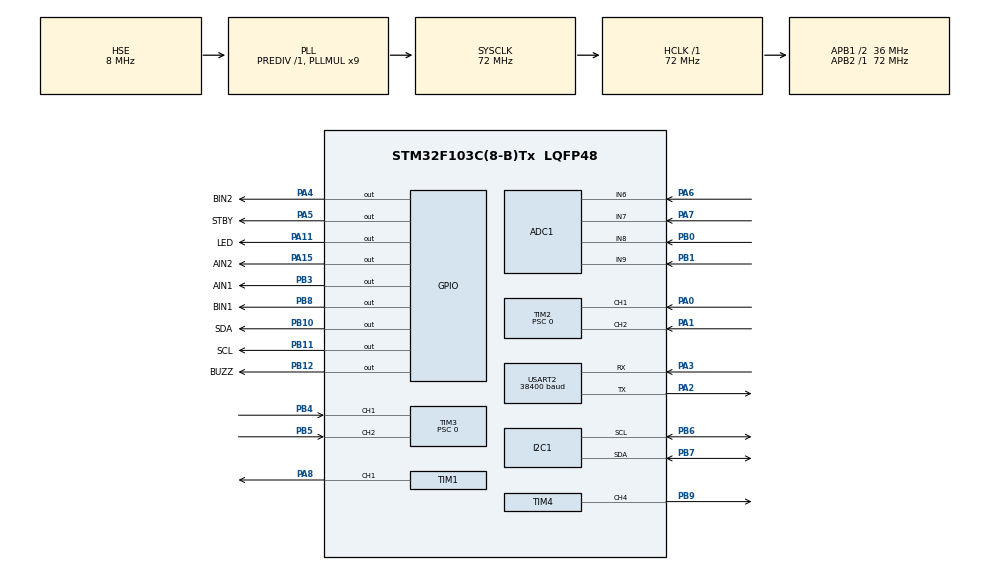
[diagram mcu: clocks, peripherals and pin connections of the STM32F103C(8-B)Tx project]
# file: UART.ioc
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ADC1.Channel-3\#ChannelRegularConversion=ADC_CHANNEL_6
ADC1.Channel-4\#ChannelRegularConversion=ADC_CHANNEL_7
ADC1.Channel-5\#ChannelRegularConversion=ADC_CHANNEL_8
ADC1.Channel-6\#ChannelRegularConversion=ADC_CHANNEL_9
ADC1.ContinuousConvMode=ENABLE
ADC1.NbrOfConversion=4
ADC1.NbrOfConversionFlag=1
ADC1.Rank-3\#ChannelRegularConversion=1
ADC1.Rank-4\#ChannelRegularConversion=2
ADC1.Rank-5\#ChannelRegularConversion=3
ADC1.Rank-6\#ChannelRegularConversion=4
ADC1.SamplingTime-3\#ChannelRegularConversion=ADC_SAMPLETIME_28CYCLES_5
ADC1.SamplingTime-4\#ChannelRegularConversion=ADC_SAMPLETIME_28CYCLES_5
ADC1.SamplingTime-5\#ChannelRegularConversion=ADC_SAMPLETIME_28CYCLES_5
ADC1.SamplingTime-6\#ChannelRegularConversion=ADC_SAMPLETIME_28CYCLES_5
ADC1.master=1
Dma.ADC1.2.Direction=DMA_PERIPH_TO_MEMORY
Dma.ADC1.2.Instance=DMA1_Channel1
Dma.ADC1.2.MemDataAlignment=DMA_MDATAALIGN_HALFWORD
Dma.ADC1.2.MemInc=DMA_MINC_ENABLE
Dma.ADC1.2.Mode=DMA_CIRCULAR
Dma.ADC1.2.PeriphDataAlignment=DMA_PDATAALIGN_HALFWORD
Dma.ADC1.2.PeriphInc=DMA_PINC_DISABLE
Dma.ADC1.2.Priority=DMA_PRIORITY_MEDIUM
Dma.Request0=USART2_RX
Dma.Request1=USART2_TX
Dma.Request2=ADC1
Dma.USART2_RX.0.Direction=DMA_PERIPH_TO_MEMORY
Dma.USART2_RX.0.Instance=DMA1_Channel6
Dma.USART2_RX.0.MemDataAlignment=DMA_MDATAALIGN_BYTE
Dma.USART2_RX.0.MemInc=DMA_MINC_ENABLE
Dma.USART2_RX.0.Mode=DMA_NORMAL
Dma.USART2_RX.0.PeriphDataAlignment=DMA_PDATAALIGN_BYTE
Dma.USART2_RX.0.PeriphInc=DMA_PINC_DISABLE
Dma.USART2_RX.0.Priority=DMA_PRIORITY_HIGH
Dma.USART2_TX.1.Direction=DMA_MEMORY_TO_PERIPH
Dma.USART2_TX.1.Instance=DMA1_Channel7
Dma.USART2_TX.1.MemDataAlignment=DMA_MDATAALIGN_BYTE
Dma.USART2_TX.1.MemInc=DMA_MINC_ENABLE
Dma.USART2_TX.1.Mode=DMA_NORMAL
Dma.USART2_TX.1.PeriphDataAlignment=DMA_PDATAALIGN_BYTE
Dma.USART2_TX.1.PeriphInc=DMA_PINC_DISABLE
Dma.USART2_TX.1.Priority=DMA_PRIORITY_HIGH
Mcu.Family=STM32F1
Mcu.Name=STM32F103C(8-B)Tx
Mcu.Package=LQFP48
NVIC.DMA1_Channel1_IRQn=true\:0\:0\:false\:false\:true\:false\:true\:true
NVIC.DMA1_Channel6_IRQn=true\:0\:0\:false\:false\:true\:false\:true\:true
NVIC.DMA1_Channel7_IRQn=true\:0\:0\:false\:false\:true\:false\:true\:true
NVIC.PriorityGroup=NVIC_PRIORITYGROUP_4
NVIC.TIM1_UP_IRQn=true\:0\:0\:false\:false\:true\:true\:true\:true
NVIC.TIM4_IRQn=true\:0\:0\:false\:false\:true\:true\:true\:true
NVIC.USART2_IRQn=true\:0\:0\:false\:false\:true\:true\:true\:true
PA0-WKUP.Signal=S_TIM2_CH1_ETR
PA1.Signal=S_TIM2_CH2
PA11.GPIO_Label=LED
PA11.PinState=GPIO_PIN_SET
PA11.Signal=GPIO_Output
PA13.Mode=Serial_Wire
PA13.Signal=SYS_JTMS-SWDIO
PA14.Mode=Serial_Wire
PA14.Signal=SYS_JTCK-SWCLK
PA15.GPIO_Label=AIN2
PA15.Signal=GPIO_Output
PA2.Mode=Asynchronous
PA2.Signal=USART2_TX
PA3.Mode=Asynchronous
PA3.Signal=USART2_RX
PA4.GPIO_Label=BIN2
PA4.Signal=GPIO_Output
PA5.GPIO_Label=STBY
PA5.Signal=GPIO_Output
PA6.Signal=ADCx_IN6
PA7.Signal=ADCx_IN7
PA8.Signal=S_TIM1_CH1
PB0.Signal=ADCx_IN8
PB1.Signal=ADCx_IN9
PB10.GPIO_Label=SDA
PB10.Signal=GPIO_Output
PB11.GPIO_Label=SCL
PB11.Signal=GPIO_Output
PB12.GPIO_Label=BUZZ
PB12.PinState=GPIO_PIN_SET
PB12.Signal=GPIO_Output
PB3.GPIO_Label=AIN1
PB3.Signal=GPIO_Output
PB4.Signal=S_TIM3_CH1
PB5.Signal=S_TIM3_CH2
PB6.Mode=I2C
PB6.Signal=I2C1_SCL
PB7.Mode=I2C
PB7.Signal=I2C1_SDA
PB8.GPIO_Label=BIN1
PB8.Signal=GPIO_Output
PB9.Signal=S_TIM4_CH4
PD0-OSC_IN.Mode=HSE-External-Oscillator
PD0-OSC_IN.Signal=RCC_OSC_IN
PD1-OSC_OUT.Mode=HSE-External-Oscillator
PD1-OSC_OUT.Signal=RCC_OSC_OUT
ProjectManager.HeapSize=0x200
ProjectManager.StackSize=0x400
ProjectManager.TargetToolchain=CMake
RCC.ADCPresc=RCC_ADCPCLK2_DIV6
RCC.AHBFreq_Value=72000000
RCC.APB1CLKDivider=RCC_HCLK_DIV2
RCC.APB1Freq_Value=36000000
RCC.APB1TimFreq_Value=72000000
RCC.APB2Freq_Value=72000000
RCC.APB2TimFreq_Value=72000000
RCC.HCLKFreq_Value=72000000
RCC.PLLMUL=RCC_PLL_MUL9
RCC.PLLSourceVirtual=RCC_PLLSOURCE_HSE
RCC.SYSCLKFreq_VALUE=72000000
RCC.SYSCLKSource=RCC_SYSCLKSOURCE_PLLCLK
RCC.USBFreq_Value=72000000
SH.ADCx_IN6.0=ADC1_IN6,IN6
SH.ADCx_IN7.0=ADC1_IN7,IN7
SH.ADCx_IN8.0=ADC1_IN8,IN8
SH.ADCx_IN9.0=ADC1_IN9,IN9
SH.S_TIM1_CH1.0=TIM1_CH1,PWM Generation1 CH1
SH.S_TIM2_CH1_ETR.0=TIM2_CH1,Encoder_Interface
SH.S_TIM2_CH2.0=TIM2_CH2,Encoder_Interface
SH.S_TIM3_CH1.0=TIM3_CH1,Encoder_Interface
SH.S_TIM3_CH2.0=TIM3_CH2,Encoder_Interface
SH.S_TIM4_CH4.0=TIM4_CH4,PWM Generation4 CH4
TIM1.Channel-PWM\ Generation1\ CH1=TIM_CHANNEL_1
TIM1.Period=1000-1
TIM1.Prescaler=72-1
TIM2.EncoderMode=TIM_ENCODERMODE_TI12
TIM2.Prescaler=0
TIM3.EncoderMode=TIM_ENCODERMODE_TI12
TIM3.Prescaler=0
TIM4.Channel-PWM\ Generation4\ CH4=TIM_CHANNEL_4
TIM4.Period=1000-1
TIM4.Prescaler=72- 1
USART2.BaudRate=38400
USART2.VirtualMode=VM_ASYNC
VP_TIM1_VS_ClockSourceINT.Mode=Internal
VP_TIM4_VS_ClockSourceINT.Mode=Internal
board=custom

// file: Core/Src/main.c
/* USER CODE BEGIN Header */
/**
 ******************************************************************************
 * @file           : main.c
 * @brief          : Main program body
 ******************************************************************************
 * @attention
 *
 * Copyright (c) 2025 STMicroelectronics.
 * All rights reserved.
 *
 * This software is licensed under terms that can be found in the LICENSE file
 * in the root directory of this software component.
 * If no LICENSE file comes with this software, it is provided AS-IS.
 *
 ******************************************************************************
 */
/* USER CODE END Header */
#include "main.h"

/* USER CODE BEGIN Includes */
#include "COM.h"
#include "MPU6500.h"
#include "Motor.h"
// #include "OLED.h"
#include "PID.h"
#include "math.h"
#include "stm32f1xx_hal_gpio.h"
#include "stm32f1xx_hal_tim.h"
#include "stm32f1xx_hal_uart.h"
#include "trace_sensor.h"
#include <stdint.h>
#include <stdio.h>
#include <string.h>
#include <sys/_intsup.h>

/* USER CODE END Includes */

/* USER CODE BEGIN PD */
#define UART_RX_BUF_LEN 64
// #define LOOP_TEST
// #define READ_TEMPLE
/* USER CODE END PD */

ADC_HandleTypeDef hadc1;
DMA_HandleTypeDef hdma_adc1;

I2C_HandleTypeDef hi2c1;

TIM_HandleTypeDef htim1;
TIM_HandleTypeDef htim2;
TIM_HandleTypeDef htim3;
TIM_HandleTypeDef htim4;

UART_HandleTypeDef huart2;
DMA_HandleTypeDef hdma_usart2_rx;
DMA_HandleTypeDef hdma_usart2_tx;

/* USER CODE BEGIN PV */
uint8_t RX_Buf_A[UART_RX_BUF_LEN] = {0};
uint8_t RX_Buf_B[UART_RX_BUF_LEN] = {0};
uint8_t *RX_Buf_Active = RX_Buf_A; // DMA正在写入的
uint8_t *RX_Buf_Ready = NULL;      // 准备好供主循环处理的
volatile uint8_t dataFlag = 0;

volatile int16_t M_speed_L = 0;
volatile int16_t M_speed_R = 0;
volatile uint8_t stop_flag = 1;

char float_buf1[20];
char float_buf2[20];
char float_buf3[20];

volatile uint8_t print_flag = 0;

PID_t pid_L;
PID_t pid_R;
volatile float target_L = 0;
volatile float target_R = 0;

PID_t pid_yaw;
volatile float target_Y = 0;
int16_t yaw_P = 10; // yaw调节比例系数

volatile int16_t target_d = 0;
uint8_t distance_mode = 0;
volatile int16_t measure_d = 0;

PID_t pid_trace;
uint8_t trace_mode = 0;
float last_tracking_error = 0.0;
volatile CarState_t car_state = STATE_INIT;
volatile uint32_t gap_timer = 0;
volatile uint8_t gap_direction = 0; // 0=未确定, 1=左转寻找, 2=右转寻找
volatile float last_yaw = 0.0f;     // 保存上次的角度值

volatile uint8_t TIM4_RCC = 0;
volatile uint8_t TIM1_RCC = 0;

MPU6500_Data mpu_data;
uint8_t MPU6500_flag = 0;
uint8_t joystick_mode = 0; // 摇杆模式
uint8_t turn_l_flag = 0;
uint8_t turn_r_flag = 0;

extern volatile uint16_t adc_dma_buffer[TRACE_CHANNELS];
/* USER CODE END PV */

void SystemClock_Config(void);
static void MX_GPIO_Init(void);
static void MX_DMA_Init(void);
static void MX_USART2_UART_Init(void);
static void MX_ADC1_Init(void);
static void MX_TIM1_Init(void);
static void MX_TIM3_Init(void);
static void MX_TIM4_Init(void);
static void MX_TIM2_Init(void);
static void MX_I2C1_Init(void);
/* USER CODE BEGIN PFP */
static inline float clampf(float x, float minv, float maxv);
/* USER CODE END PFP */

/* USER CODE BEGIN 0 */
float normalize_angle(float angle) {
  while (angle > 180.0f)
    angle -= 360.0f;
  while (angle < -180.0f)
    angle += 360.0f;
  return angle;
}

void HAL_TIM_PeriodElapsedCallback(TIM_HandleTypeDef *htim) {
  if (htim->Instance == TIM1) {
    TIM1_RCC++;
    if (TIM1_RCC == 10) {
      TIM1_RCC = 0;
      if (MPU6500_flag)
        MPU6500_Get_All_Data(&mpu_data);
      TraceSensor_Update();
    }
  }
  if (htim->Instance == TIM4) {
    TIM4_RCC++;
    if (TIM4_RCC == 10) {
      TIM4_RCC = 0;
      M_speed_L = GetSpeed(&htim3); // 脉冲/10ms
      M_speed_R = GetSpeed(&htim2); // 脉冲/10ms
      float yaw_now = mpu_data.yaw;

      if (stop_flag) {
        // 清状态，防止再启动猛冲
        pid_L.I = 0;
        pid_L.Err = 0;
        pid_L.Err1 = 0;
        pid_L.Out = 0;
        pid_R.I = 0;
        pid_R.Err = 0;
        pid_R.Err1 = 0;
        pid_R.Out = 0;
        pid_yaw.I = 0;
        pid_yaw.Err = 0;
        pid_yaw.Err1 = 0;
        pid_yaw.Out = 0;

        SetSpeed(&htim4, 0);
        SetSpeed(&htim1, 0);
      } else {

        float tL, tR;

        if (trace_mode) {
          // 读取四个传感器的状态
          uint8_t left_out = TraceSensor_IsBlack(0);  // 最左传感器
          uint8_t left_mid = TraceSensor_IsBlack(1);  // 左中传感器
          uint8_t right_mid = TraceSensor_IsBlack(2); // 右中传感器
          uint8_t right_out = TraceSensor_IsBlack(3); // 最右传感器

          uint8_t any_black = left_out || left_mid || right_mid || right_out;

          // 基础速度设置（所有状态共用）
          float base_speed = 8.0f;  // 基础速度
          float turn_speed = 12.0f; // 转向时外轮速度
          float inner_speed = 5.0f; // 转向时内轮速度

          switch (car_state) {
          case STATE_INIT:
            // 初始状态，等待检测到黑线
            if (any_black) {
              car_state = STATE_TRACKING;
              gap_timer = 0;
              // 初始化目标速度
              target_L = base_speed;
              target_R = base_speed;
              // 记录当前航向
              last_yaw = mpu_data.yaw;
              target_Y = last_yaw;
            } else {
              // 等待，不动或缓慢前进
              target_L = 0;
              target_R = 0;
            }
            break;

          case STATE_TRACKING:
            if (!any_black) {
              // 进入空白段
              car_state = STATE_GAP;
              gap_timer = 0;
              // 保存最后一次误差方向，用于判断转向
              gap_direction = (last_tracking_error < 0) ? 1 : 2;
              // 保持当前航向直线前进
              target_L = base_speed;
              target_R = base_speed;
            } else {
              // 正常跟踪
              float error = TraceSensor_GetWeightedError();
              last_tracking_error = error;

              // PID控制 - 调节目标航向
              pid_trace.Exp = 0.0f; // 目标误差为0
              pid_trace.Mea = error;
              float steering = PID_Update(&pid_trace);

              // 将转向转化为目标航向调整
              // 注意：steering是角度调整量，单位是度
              float yaw_adjust = steering * 5.0f; // 比例因子，需要调试

              // 更新目标航向
              target_Y = last_yaw + yaw_adjust;

              // 归一化角度
              if (target_Y > 180.0f)
                target_Y -= 360.0f;
              if (target_Y < -180.0f)
                target_Y += 360.0f;

              // 设置基础速度
              target_L = base_speed;
              target_R = base_speed;

              // 保存当前角度，用于下一次计算
              last_yaw = mpu_data.yaw;
            }
            break;

          case STATE_GAP:
            gap_timer++;

            if (any_black) {
              // 在空白段中又检测到黑线，回到跟踪状态
              car_state = STATE_TRACKING;
              // 重新记录航向
              last_yaw = mpu_data.yaw;
            } else if (gap_timer > 60) { // 60 * 10ms = 600ms（根据实际调整）
              // 空白段超时，进入过渡状态
              car_state = STATE_TRANSITION;
            } else {
              // 保持直线行驶
              target_L = base_speed;
              target_R = base_speed;
              // 保持当前航向
              target_Y = last_yaw;
            }
            break;

          case STATE_TRANSITION:
            if (left_mid && right_mid) {
              // 两个中间传感器都检测到黑线，回到跟踪状态
              car_state = STATE_TRACKING;
              last_yaw = mpu_data.yaw;
              target_L = base_speed;
              target_R = base_speed;
            } else {
              // 根据gap_direction决定转向方向
              if (gap_direction == 1) {
                // 左转寻找（顺时针转，target_Y增加）
                target_Y += 2.0f;       // 每次增加2度
                target_L = inner_speed; // 左轮慢
                target_R = turn_speed;  // 右轮快
              } else {
                // 右转寻找（逆时针转，target_Y减少）
                target_Y -= 2.0f;       // 每次减少2度
                target_L = turn_speed;  // 左轮快
                target_R = inner_speed; // 右轮慢
              }

              // 归一化角度
              if (target_Y > 180.0f)
                target_Y -= 360.0f;
              if (target_Y < -180.0f)
                target_Y += 360.0f;

              // 如果检测到一侧的传感器，提前调整
              if (left_out || left_mid) {
                // 左侧有检测，需要右转调整
                target_Y -= 1.0f; // 轻微右转
                target_L = turn_speed * 0.8f;
                target_R = inner_speed * 0.8f;
              } else if (right_out || right_mid) {
                // 右侧有检测，需要左转调整
                target_Y += 1.0f; // 轻微左转
                target_L = inner_speed * 0.8f;
                target_R = turn_speed * 0.8f;
              }
            }
            break;
          }
        }

        float diff_yaw = normalize_angle(target_Y) - normalize_angle(yaw_now);
        diff_yaw = normalize_angle(diff_yaw);

        if (fabs(diff_yaw) < 1.0f) {
          diff_yaw = 0.0f;
        }

        pid_yaw.Exp = 0;
        pid_yaw.Mea = diff_yaw;
        float yaw_correction = PID_Update(&pid_yaw);

        // 根据循迹模式调整角度环权重
        float yaw_weight = 1.0f;
        if (trace_mode) {
          // 在循迹模式下，根据状态调整角度环权重
          switch (car_state) {
          case STATE_TRACKING:
            yaw_weight = 1.0f; // 全权重
            break;
          case STATE_GAP:
            yaw_weight = 0.8f; // 略降低权重
            break;
          case STATE_TRANSITION:
            yaw_weight = 0.5f; // 大幅降低权重，让传感器主导
            break;
          default:
            yaw_weight = 1.0f;
          }
        }

        // 目标限幅：避免不可能达到的设定导致长时间饱和
        if (fabs(diff_yaw) < 5.0) {
          tL = clampf(target_L + yaw_correction * yaw_weight, -TARGET_LIMIT,
                      TARGET_LIMIT);
          tR = clampf(target_R - yaw_correction * yaw_weight, -TARGET_LIMIT,
                      TARGET_LIMIT);
        } else {
          tL = clampf(yaw_correction, -TARGET_LIMIT, TARGET_LIMIT);
          tR = clampf(-yaw_correction, -TARGET_LIMIT, TARGET_LIMIT);
        }

        pid_L.Exp = tL;
        pid_L.Mea = (float)M_speed_L;

        pid_R.Exp = tR;
        pid_R.Mea = (float)M_speed_R;

        int16_t outL = (int16_t)PID_Update(&pid_L);
        int16_t outR = (int16_t)PID_Update(&pid_R);

        if (distance_mode) {
          measure_d += (M_speed_L + M_speed_R) / 2;
          float remain = measure_d - target_d;
          if (measure_d >= target_d) {
            SetSpeed(&htim1, 0);
            SetSpeed(&htim4, 0);
            distance_mode = 0;
            target_d = 0;
            measure_d = 0;
            stop_flag = 1;
            outL = 0;
            outR = 0;
            return;
          } else if (remain / target_d <= 0.3f) {
            outL = (float)outL * 0.5;
            outR = (float)outR * 0.5;
          } else if (remain / target_d <= 0.1f) {
            outL = (float)outL * 0.2;
            outR = (float)outR * 0.2;
          }
        }

        if (outL > PWM_MAX)
          outL = PWM_MAX;
        if (outL < -PWM_MAX)
          outL = -PWM_MAX;
        if (outR > PWM_MAX)
          outR = PWM_MAX;
        if (outR < -PWM_MAX)
          outR = -PWM_MAX;

        SetSpeed(&htim1, outL); // 左轮
        SetSpeed(&htim4, outR); // 右轮
      }
      print_flag = 1;
    }
  }
}
/* USER CODE END 0 */

int main(void) {

  /* MCU Configuration--------------------------------------------------------*/

  /* Reset of all peripherals, Initializes the Flash interface and the Systick.
   */
  HAL_Init();

  /* Configure the system clock */
  SystemClock_Config();

  /* Initialize all configured peripherals */
  MX_GPIO_Init();
  MX_DMA_Init();
  MX_USART2_UART_Init();
  MX_ADC1_Init();
  MX_TIM1_Init();
  MX_TIM3_Init();
  MX_TIM4_Init();
  MX_TIM2_Init();
  MX_I2C1_Init();
  /* USER CODE BEGIN 2 */
  HAL_UARTEx_ReceiveToIdle_DMA(&huart2, RX_Buf_Active, UART_RX_BUF_LEN);
  TraceSensor_Init();
  TraceSensor_Start();
  // Init_BT(1500); // 这个只需要执行一次去初始化
  // OLED_Init();
  MPU6500_Init_With_Calibration();

  HAL_TIM_Encoder_Start(&htim2, TIM_CHANNEL_ALL);
  HAL_TIM_Encoder_Start(&htim3, TIM_CHANNEL_ALL);

  // if (MPU6050_Init() == 0) {
  //   Error_Handler();
  // }

  HAL_TIM_PWM_Start(&htim1, TIM_CHANNEL_1);
  HAL_TIM_Base_Start_IT(&htim1);
  HAL_TIM_PWM_Start(&htim4, TIM_CHANNEL_4);
  HAL_TIM_Base_Start_IT(&htim4);

  PID_Init(&pid_L, 10.0f, 10.0f, 3.0f, 999.0f, -999.0f, 400.0f);
  PID_Init(&pid_R, 10.0f, 10.0f, 3.0f, 999.0f, -999.0f, 400.0f);
  PID_Init(&pid_yaw, 1.0f, 0.0f, 0.0f, 10.0f, -10.0f, 400.0f);
  PID_Init(&pid_trace, 0.5f, 0.0f, 0.05f, 10.0f, -10.0f, 400.0f);

  target_L = 0;
  target_R = 0;

  Motor_Init();
  HAL_GPIO_WritePin(LED_GPIO_Port, LED_Pin, GPIO_PIN_RESET);
  HAL_Delay(500);
  // MPU6050_Calculate_Angle();
  /* USER CODE END 2 */

  /* Infinite loop */
  /* USER CODE BEGIN WHILE */
  // target_L = 3;
  // target_R = 3;
  // stop_flag = 0;
  MPU6500_flag = 1;
  while (1) {

    // OLED_ShowString(0, 0, "Motor Monitor", OLED_6X8);
    // OLED_Printf(16, 0, OLED_6X8, "Roll:%.2f, Pitch:%.2f, Yaw:%.2f
    // temp:%.2f\n",
    //             angle.pitch, angle.yaw, angle.temp);
    // OLED_Update();
    if (dataFlag) {
      dataFlag = 0;
      if (RX_Buf_Ready != NULL && RX_Buf_Ready[0] == '#') {
        if (!cmd_parser((char *)RX_Buf_Ready)) {
        }
      }
    }
    if (print_flag) {
      if (turn_l_flag) {
        target_Y += 0.5;
      } else if (turn_r_flag) {
        target_Y -= 0.5;
      }
      print_flag = 0;
      TraceSensor_Update();
      TraceSensor_GetLineState();
      // if (TraceSensor_IsBlack(0) || TraceSensor_IsBlack(1) ||
      //     TraceSensor_IsBlack(2) || TraceSensor_IsBlack(3)) {
      //   HAL_GPIO_WritePin(LED_GPIO_Port, LED_Pin, GPIO_PIN_RESET);
      // }
      // float x = pid_yaw.Out;
      // float y = mpu_data.yaw;

      // msgf(MSG_LOG, "%s,%d",
      //      float_to_string(TICK_TO_V((M_speed_L + M_speed_R) / 2.0),
      //      float_buf1,
      //                      2),
      //      (int)y);
      // msgf(MSG_LOG, "%d, %d", (int)(target_L + pid_yaw.Out),
      //      (int)(target_R - pid_yaw.Out));
      TraceSensor_Calibrate();
      TraceSensor_Update();
    }

    /* USER CODE END WHILE */

  }
}

void SystemClock_Config(void) {
  RCC_OscInitTypeDef RCC_OscInitStruct = {0};
  RCC_ClkInitTypeDef RCC_ClkInitStruct = {0};
  RCC_PeriphCLKInitTypeDef PeriphClkInit = {0};

  /** Initializes the RCC Oscillators according to the specified parameters
   * in the RCC_OscInitTypeDef structure.
   */
  RCC_OscInitStruct.OscillatorType = RCC_OSCILLATORTYPE_HSE;
  RCC_OscInitStruct.HSEState = RCC_HSE_ON;
  RCC_OscInitStruct.HSEPredivValue = RCC_HSE_PREDIV_DIV1;
  RCC_OscInitStruct.HSIState = RCC_HSI_ON;
  RCC_OscInitStruct.PLL.PLLState = RCC_PLL_ON;
  RCC_OscInitStruct.PLL.PLLSource = RCC_PLLSOURCE_HSE;
  RCC_OscInitStruct.PLL.PLLMUL = RCC_PLL_MUL9;
  if (HAL_RCC_OscConfig(&RCC_OscInitStruct) != HAL_OK) {
    Error_Handler();
  }

  /** Initializes the CPU, AHB and APB buses clocks
   */
  RCC_ClkInitStruct.ClockType = RCC_CLOCKTYPE_HCLK | RCC_CLOCKTYPE_SYSCLK |
                                RCC_CLOCKTYPE_PCLK1 | RCC_CLOCKTYPE_PCLK2;
  RCC_ClkInitStruct.SYSCLKSource = RCC_SYSCLKSOURCE_PLLCLK;
  RCC_ClkInitStruct.AHBCLKDivider = RCC_SYSCLK_DIV1;
  RCC_ClkInitStruct.APB1CLKDivider = RCC_HCLK_DIV2;
  RCC_ClkInitStruct.APB2CLKDivider = RCC_HCLK_DIV1;

  if (HAL_RCC_ClockConfig(&RCC_ClkInitStruct, FLASH_LATENCY_2) != HAL_OK) {
    Error_Handler();
  }
  PeriphClkInit.PeriphClockSelection = RCC_PERIPHCLK_ADC;
  PeriphClkInit.AdcClockSelection = RCC_ADCPCLK2_DIV6;
  if (HAL_RCCEx_PeriphCLKConfig(&PeriphClkInit) != HAL_OK) {
    Error_Handler();
  }
}

static void MX_ADC1_Init(void) {

  ADC_ChannelConfTypeDef sConfig = {0};

  /** Common config
   */
  hadc1.Instance = ADC1;
  hadc1.Init.ScanConvMode = ADC_SCAN_ENABLE;
  hadc1.Init.ContinuousConvMode = ENABLE;
  hadc1.Init.DiscontinuousConvMode = DISABLE;
  hadc1.Init.ExternalTrigConv = ADC_SOFTWARE_START;
  hadc1.Init.DataAlign = ADC_DATAALIGN_RIGHT;
  hadc1.Init.NbrOfConversion = 4;
  if (HAL_ADC_Init(&hadc1) != HAL_OK) {
    Error_Handler();
  }

  /** Configure Regular Channel
   */
  sConfig.Channel = ADC_CHANNEL_6;
  sConfig.Rank = ADC_REGULAR_RANK_1;
  sConfig.SamplingTime = ADC_SAMPLETIME_28CYCLES_5;
  if (HAL_ADC_ConfigChannel(&hadc1, &sConfig) != HAL_OK) {
    Error_Handler();
  }

  /** Configure Regular Channel
   */
  sConfig.Channel = ADC_CHANNEL_7;
  sConfig.Rank = ADC_REGULAR_RANK_2;
  if (HAL_ADC_ConfigChannel(&hadc1, &sConfig) != HAL_OK) {
    Error_Handler();
  }

  /** Configure Regular Channel
   */
  sConfig.Channel = ADC_CHANNEL_8;
  sConfig.Rank = ADC_REGULAR_RANK_3;
  if (HAL_ADC_ConfigChannel(&hadc1, &sConfig) != HAL_OK) {
    Error_Handler();
  }

  /** Configure Regular Channel
   */
  sConfig.Channel = ADC_CHANNEL_9;
  sConfig.Rank = ADC_REGULAR_RANK_4;
  if (HAL_ADC_ConfigChannel(&hadc1, &sConfig) != HAL_OK) {
    Error_Handler();
  }
}

static void MX_I2C1_Init(void) {

  hi2c1.Instance = I2C1;
  hi2c1.Init.ClockSpeed = 100000;
  hi2c1.Init.DutyCycle = I2C_DUTYCYCLE_2;
  hi2c1.Init.OwnAddress1 = 0;
  hi2c1.Init.AddressingMode = I2C_ADDRESSINGMODE_7BIT;
  hi2c1.Init.DualAddressMode = I2C_DUALADDRESS_DISABLE;
  hi2c1.Init.OwnAddress2 = 0;
  hi2c1.Init.GeneralCallMode = I2C_GENERALCALL_DISABLE;
  hi2c1.Init.NoStretchMode = I2C_NOSTRETCH_DISABLE;
  if (HAL_I2C_Init(&hi2c1) != HAL_OK) {
    Error_Handler();
  }
}

static void MX_TIM1_Init(void) {

  TIM_ClockConfigTypeDef sClockSourceConfig = {0};
  TIM_MasterConfigTypeDef sMasterConfig = {0};
  TIM_OC_InitTypeDef sConfigOC = {0};
  TIM_BreakDeadTimeConfigTypeDef sBreakDeadTimeConfig = {0};

  htim1.Instance = TIM1;
  htim1.Init.Prescaler = 72 - 1;
  htim1.Init.CounterMode = TIM_COUNTERMODE_UP;
  htim1.Init.Period = 1000 - 1;
  htim1.Init.ClockDivision = TIM_CLOCKDIVISION_DIV1;
  htim1.Init.RepetitionCounter = 0;
  htim1.Init.AutoReloadPreload = TIM_AUTORELOAD_PRELOAD_DISABLE;
  if (HAL_TIM_Base_Init(&htim1) != HAL_OK) {
    Error_Handler();
  }
  sClockSourceConfig.ClockSource = TIM_CLOCKSOURCE_INTERNAL;
  if (HAL_TIM_ConfigClockSource(&htim1, &sClockSourceConfig) != HAL_OK) {
    Error_Handler();
  }
  if (HAL_TIM_PWM_Init(&htim1) != HAL_OK) {
    Error_Handler();
  }
  sMasterConfig.MasterOutputTrigger = TIM_TRGO_RESET;
  sMasterConfig.MasterSlaveMode = TIM_MASTERSLAVEMODE_DISABLE;
  if (HAL_TIMEx_MasterConfigSynchronization(&htim1, &sMasterConfig) != HAL_OK) {
    Error_Handler();
  }
  sConfigOC.OCMode = TIM_OCMODE_PWM1;
  sConfigOC.Pulse = 0;
  sConfigOC.OCPolarity = TIM_OCPOLARITY_HIGH;
  sConfigOC.OCNPolarity = TIM_OCNPOLARITY_HIGH;
  sConfigOC.OCFastMode = TIM_OCFAST_DISABLE;
  sConfigOC.OCIdleState = TIM_OCIDLESTATE_RESET;
  sConfigOC.OCNIdleState = TIM_OCNIDLESTATE_RESET;
  if (HAL_TIM_PWM_ConfigChannel(&htim1, &sConfigOC, TIM_CHANNEL_1) != HAL_OK) {
    Error_Handler();
  }
  sBreakDeadTimeConfig.OffStateRunMode = TIM_OSSR_DISABLE;
  sBreakDeadTimeConfig.OffStateIDLEMode = TIM_OSSI_DISABLE;
  sBreakDeadTimeConfig.LockLevel = TIM_LOCKLEVEL_OFF;
  sBreakDeadTimeConfig.DeadTime = 0;
  sBreakDeadTimeConfig.BreakState = TIM_BREAK_DISABLE;
  sBreakDeadTimeConfig.BreakPolarity = TIM_BREAKPOLARITY_HIGH;
  sBreakDeadTimeConfig.AutomaticOutput = TIM_AUTOMATICOUTPUT_DISABLE;
  if (HAL_TIMEx_ConfigBreakDeadTime(&htim1, &sBreakDeadTimeConfig) != HAL_OK) {
    Error_Handler();
  }
  HAL_TIM_MspPostInit(&htim1);
}

static void MX_TIM2_Init(void) {

  TIM_Encoder_InitTypeDef sConfig = {0};
  TIM_MasterConfigTypeDef sMasterConfig = {0};

  htim2.Instance = TIM2;
  htim2.Init.Prescaler = 0;
  htim2.Init.CounterMode = TIM_COUNTERMODE_UP;
  htim2.Init.Period = 65535;
  htim2.Init.ClockDivision = TIM_CLOCKDIVISION_DIV1;
  htim2.Init.AutoReloadPreload = TIM_AUTORELOAD_PRELOAD_DISABLE;
  sConfig.EncoderMode = TIM_ENCODERMODE_TI12;
  sConfig.IC1Polarity = TIM_ICPOLARITY_RISING;
  sConfig.IC1Selection = TIM_ICSELECTION_DIRECTTI;
  sConfig.IC1Prescaler = TIM_ICPSC_DIV1;
  sConfig.IC1Filter = 0;
  sConfig.IC2Polarity = TIM_ICPOLARITY_RISING;
  sConfig.IC2Selection = TIM_ICSELECTION_DIRECTTI;
  sConfig.IC2Prescaler = TIM_ICPSC_DIV1;
  sConfig.IC2Filter = 0;
  if (HAL_TIM_Encoder_Init(&htim2, &sConfig) != HAL_OK) {
    Error_Handler();
  }
  sMasterConfig.MasterOutputTrigger = TIM_TRGO_RESET;
  sMasterConfig.MasterSlaveMode = TIM_MASTERSLAVEMODE_DISABLE;
  if (HAL_TIMEx_MasterConfigSynchronization(&htim2, &sMasterConfig) != HAL_OK) {
    Error_Handler();
  }
}

static void MX_TIM3_Init(void) {

  TIM_Encoder_InitTypeDef sConfig = {0};
  TIM_MasterConfigTypeDef sMasterConfig = {0};

  htim3.Instance = TIM3;
  htim3.Init.Prescaler = 0;
  htim3.Init.CounterMode = TIM_COUNTERMODE_UP;
  htim3.Init.Period = 65535;
  htim3.Init.ClockDivision = TIM_CLOCKDIVISION_DIV1;
  htim3.Init.AutoReloadPreload = TIM_AUTORELOAD_PRELOAD_DISABLE;
  sConfig.EncoderMode = TIM_ENCODERMODE_TI12;
  sConfig.IC1Polarity = TIM_ICPOLARITY_RISING;
  sConfig.IC1Selection = TIM_ICSELECTION_DIRECTTI;
  sConfig.IC1Prescaler = TIM_ICPSC_DIV1;
  sConfig.IC1Filter = 0;
  sConfig.IC2Polarity = TIM_ICPOLARITY_RISING;
  sConfig.IC2Selection = TIM_ICSELECTION_DIRECTTI;
  sConfig.IC2Prescaler = TIM_ICPSC_DIV1;
  sConfig.IC2Filter = 0;
  if (HAL_TIM_Encoder_Init(&htim3, &sConfig) != HAL_OK) {
    Error_Handler();
  }
  sMasterConfig.MasterOutputTrigger = TIM_TRGO_RESET;
  sMasterConfig.MasterSlaveMode = TIM_MASTERSLAVEMODE_DISABLE;
  if (HAL_TIMEx_MasterConfigSynchronization(&htim3, &sMasterConfig) != HAL_OK) {
    Error_Handler();
  }
}

static void MX_TIM4_Init(void) {

  TIM_ClockConfigTypeDef sClockSourceConfig = {0};
  TIM_MasterConfigTypeDef sMasterConfig = {0};
  TIM_OC_InitTypeDef sConfigOC = {0};

  htim4.Instance = TIM4;
  htim4.Init.Prescaler = 72 - 1;
  htim4.Init.CounterMode = TIM_COUNTERMODE_UP;
  htim4.Init.Period = 1000 - 1;
  htim4.Init.ClockDivision = TIM_CLOCKDIVISION_DIV1;
  htim4.Init.AutoReloadPreload = TIM_AUTORELOAD_PRELOAD_DISABLE;
  if (HAL_TIM_Base_Init(&htim4) != HAL_OK) {
    Error_Handler();
  }
  sClockSourceConfig.ClockSource = TIM_CLOCKSOURCE_INTERNAL;
  if (HAL_TIM_ConfigClockSource(&htim4, &sClockSourceConfig) != HAL_OK) {
    Error_Handler();
  }
  if (HAL_TIM_PWM_Init(&htim4) != HAL_OK) {
    Error_Handler();
  }
  sMasterConfig.MasterOutputTrigger = TIM_TRGO_RESET;
  sMasterConfig.MasterSlaveMode = TIM_MASTERSLAVEMODE_DISABLE;
  if (HAL_TIMEx_MasterConfigSynchronization(&htim4, &sMasterConfig) != HAL_OK) {
    Error_Handler();
  }
  sConfigOC.OCMode = TIM_OCMODE_PWM1;
  sConfigOC.Pulse = 0;
  sConfigOC.OCPolarity = TIM_OCPOLARITY_HIGH;
  sConfigOC.OCFastMode = TIM_OCFAST_DISABLE;
  if (HAL_TIM_PWM_ConfigChannel(&htim4, &sConfigOC, TIM_CHANNEL_4) != HAL_OK) {
    Error_Handler();
  }
  HAL_TIM_MspPostInit(&htim4);
}

static void MX_USART2_UART_Init(void) {

  huart2.Instance = USART2;
  huart2.Init.BaudRate = 38400;
  huart2.Init.WordLength = UART_WORDLENGTH_8B;
  huart2.Init.StopBits = UART_STOPBITS_1;
  huart2.Init.Parity = UART_PARITY_NONE;
  huart2.Init.Mode = UART_MODE_TX_RX;
  huart2.Init.HwFlowCtl = UART_HWCONTROL_NONE;
  huart2.Init.OverSampling = UART_OVERSAMPLING_16;
  if (HAL_UART_Init(&huart2) != HAL_OK) {
    Error_Handler();
  }
}

static void MX_DMA_Init(void) {

  /* DMA controller clock enable */
  __HAL_RCC_DMA1_CLK_ENABLE();

  /* DMA interrupt init */
  /* DMA1_Channel1_IRQn interrupt configuration */
  HAL_NVIC_SetPriority(DMA1_Channel1_IRQn, 0, 0);
  HAL_NVIC_EnableIRQ(DMA1_Channel1_IRQn);
  /* DMA1_Channel6_IRQn interrupt configuration */
  HAL_NVIC_SetPriority(DMA1_Channel6_IRQn, 0, 0);
  HAL_NVIC_EnableIRQ(DMA1_Channel6_IRQn);
  /* DMA1_Channel7_IRQn interrupt configuration */
  HAL_NVIC_SetPriority(DMA1_Channel7_IRQn, 0, 0);
  HAL_NVIC_EnableIRQ(DMA1_Channel7_IRQn);
}

static void MX_GPIO_Init(void) {
  GPIO_InitTypeDef GPIO_InitStruct = {0};

  /* GPIO Ports Clock Enable */
  __HAL_RCC_GPIOD_CLK_ENABLE();
  __HAL_RCC_GPIOA_CLK_ENABLE();
  __HAL_RCC_GPIOB_CLK_ENABLE();

  /*Configure GPIO pin Output Level */
  HAL_GPIO_WritePin(GPIOA, BIN2_Pin | STBY_Pin | AIN2_Pin, GPIO_PIN_RESET);

  /*Configure GPIO pin Output Level */
  HAL_GPIO_WritePin(GPIOB, SDA_Pin | SCL_Pin | AIN1_Pin | BIN1_Pin,
                    GPIO_PIN_RESET);

  /*Configure GPIO pin Output Level */
  HAL_GPIO_WritePin(BUZZ_GPIO_Port, BUZZ_Pin, GPIO_PIN_SET);

  /*Configure GPIO pin Output Level */
  HAL_GPIO_WritePin(LED_GPIO_Port, LED_Pin, GPIO_PIN_SET);

  /*Configure GPIO pins : BIN2_Pin STBY_Pin LED_Pin AIN2_Pin */
  GPIO_InitStruct.Pin = BIN2_Pin | STBY_Pin | LED_Pin | AIN2_Pin;
  GPIO_InitStruct.Mode = GPIO_MODE_OUTPUT_PP;
  GPIO_InitStruct.Pull = GPIO_NOPULL;
  GPIO_InitStruct.Speed = GPIO_SPEED_FREQ_LOW;
  HAL_GPIO_Init(GPIOA, &GPIO_InitStruct);

  /*Configure GPIO pins : SDA_Pin SCL_Pin BUZZ_Pin AIN1_Pin
                           BIN1_Pin */
  GPIO_InitStruct.Pin = SDA_Pin | SCL_Pin | BUZZ_Pin | AIN1_Pin | BIN1_Pin;
  GPIO_InitStruct.Mode = GPIO_MODE_OUTPUT_PP;
  GPIO_InitStruct.Pull = GPIO_NOPULL;
  GPIO_InitStruct.Speed = GPIO_SPEED_FREQ_LOW;
  HAL_GPIO_Init(GPIOB, &GPIO_InitStruct);

}

/* USER CODE BEGIN 4 */

// 自定义浮点数转字符串函数
char *float_to_string(float f, char *buffer, int decimal_places) {
  char *ptr = buffer;

  if (f < 0) {
    f = -f;
    *ptr++ = '-';
  }

  int integer_part = (int)f;
  float decimal = f - integer_part;

  // 整数部分
  sprintf(ptr, "%d", integer_part);
  ptr += strlen(ptr);

  // 小数部分 - 更精确的方法
  if (decimal_places > 0) {
    *ptr++ = '.';
    int multiplier = 1;
    for (int i = 0; i < decimal_places; i++) {
      multiplier *= 10;
    }
    int decimal_int = (int)(decimal * multiplier + 0.5f); // 四舍五入
    sprintf(ptr, "%0*d", decimal_places, decimal_int);
  }

  return buffer;
}

// static uint8_t BT_SendCmd(const char *cmd, uint32_t timeout) {
//   HAL_UART_Transmit(&huart2, (uint8_t *)cmd, strlen(cmd), HAL_MAX_DELAY);
//   uint32_t tick_start = HAL_GetTick();
//   while (!dataFlag) {
//     if (HAL_GetTick() - tick_start > timeout) {
//       return 0; // 超时
//     }
//   }
//   dataFlag = 0;
//   memset(RX_Buf_A, 0, sizeof(RX_Buf_A));
//   return 1; // 成功
// }

// void Init_BT(uint32_t time_out) {
//   if (!BT_SendCmd("AT\r\n", time_out))
//     Error_Handler();
//   if (!BT_SendCmd("AT+ORGL\r\n", time_out))
//     Error_Handler();
//   if (!BT_SendCmd("AT+ROLE=0\r\n", time_out))
//     Error_Handler();
//   // 这个版本的HC-05密码是6位数字
//   if (!BT_SendCmd("AT+PSWD=123456\r\n", time_out))
//     Error_Handler();
//   if (!BT_SendCmd("AT+NAME=STM32-OTA\r\n", time_out))
//     Error_Handler();
//   if (!BT_SendCmd("AT+UART=38400,0,0\r\n", time_out))
//     Error_Handler();
//   if (!BT_SendCmd("AT+CMODE=1\r\n", time_out))
//     Error_Handler();
//   if (!BT_SendCmd("AT+ADDR?\r\n", time_out)) // 20:4D:E9:1C:EE:99
//     Error_Handler();
//   if (!BT_SendCmd("AT+RESET\r\n", time_out))
//     Error_Handler();

//   dataFlag = 0;
//   memset(RX_Buf_A, 0, sizeof(RX_Buf_A));

//   // LED闪烁指示
//   for (uint8_t i = 0; i < 5; i++) {
//     HAL_GPIO_TogglePin(LED_GPIO_Port, LED_Pin);
//     HAL_Delay(100);
//   }
// }

void HAL_UARTEx_RxEventCallback(UART_HandleTypeDef *huart, uint16_t Size) {
  if (huart->Instance == USART2) {
    if (Size < UART_RX_BUF_LEN) {
      RX_Buf_Active[Size] = '\0'; // 确保字符串结尾
    } else {
      RX_Buf_Active[UART_RX_BUF_LEN - 1] = '\0';
      msg(MSG_ERROR, "RX overflow");
    }
    dataFlag = 1;

    RX_Buf_Ready = RX_Buf_Active;
    RX_Buf_Active = (RX_Buf_Active == RX_Buf_A) ? RX_Buf_B : RX_Buf_A;

    HAL_UARTEx_ReceiveToIdle_DMA(&huart2, RX_Buf_Active, UART_RX_BUF_LEN);
  }
}

static inline float clampf(float x, float minv, float maxv) {
  if (x > maxv)
    return maxv;
  if (x < minv)
    return minv;
  return x;
}

void HAL_UART_TxCpltCallback(UART_HandleTypeDef *huart) {
  if (huart->Instance == USART2) {
  }
}

/**
 * @note https://zhuanlan.zhihu.com/p/114973609
 */
int __io_putchar(int ch) {
  HAL_UART_Transmit(&huart2, (uint8_t *)&ch, 1, HAL_MAX_DELAY);
  return ch;
}

/* USER CODE END 4 */

void Error_Handler(void) {
  /* USER CODE BEGIN Error_Handler_Debug */
  /* User can add his own implementation to report the HAL error return state
   */
  __disable_irq();
  while (1) {
    HAL_GPIO_TogglePin(LED_GPIO_Port, LED_Pin);
    for (volatile uint32_t i = 0; i < 5000000; i++)
      ;
  }
  /* USER CODE END Error_Handler_Debug */
}
#ifdef USE_FULL_ASSERT
/**
 * @brief  Reports the name of the source file and the source line number
 *         where the assert_param error has occurred.
 * @param  file: pointer to the source file name
 * @param  line: assert_param error line source number
 * @retval None
 */
void assert_failed(uint8_t *file, uint32_t line) {
  /* USER CODE BEGIN 6 */
  /* User can add his own implementation to report the file name and line
     number, ex: printf("Wrong parameters value: file %s on line %d\r\n",
     file, line) */
  /* USER CODE END 6 */
}
#endif /* USE_FULL_ASSERT */
